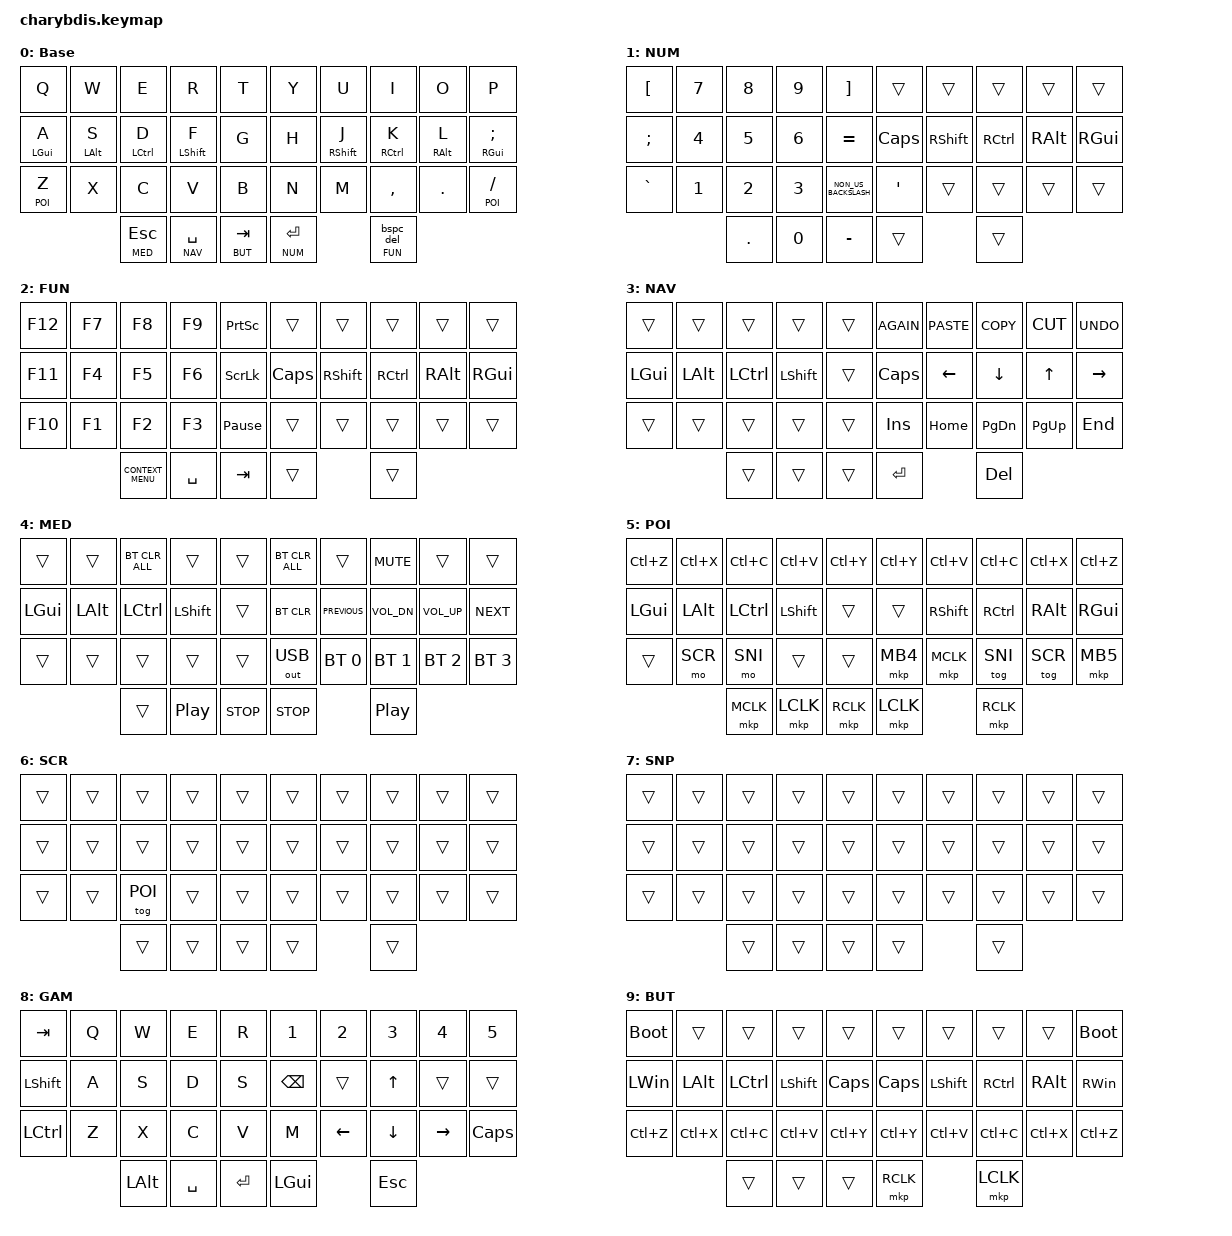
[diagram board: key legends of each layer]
#include <behaviors.dtsi>            /* brings in all core behavior types */
#include <dt-bindings/zmk/mouse.h>
#include <dt-bindings/zmk/keys.h>    /* key-to-phandle macros */
#include <dt-bindings/zmk/bt.h>
#include <dt-bindings/zmk/outputs.h>
#include <dt-bindings/zmk/modifiers.h>


#define BASE 0
#define NUM 1
#define FUN 2
#define NAV 3
#define MED 4
#define POI 5
#define SCR 6
#define SNI 7
#define GAM 8
#define BUT 9



&sl { release-after-ms = <250>; };

&mt {
    tapping-term-ms = <200>;
    require-prior-idle-ms = <150>;
};

/ {
    chosen { zmk,matrix_transform = &five_column_transform; };

    #include "combos.dtsi"

    behaviors {
        bspc_del: backspace_delete {
            compatible = "zmk,behavior-mod-morph";
            #binding-cells = <0>;
            bindings = <&kp BACKSPACE>, <&kp DELETE>;
            mods = <(MOD_LSFT|MOD_RSFT)>;
            keep-mods = <(MOD_RSFT)>;
        };
        lt_bspc: layer_tap_bspc_del {
            compatible = "zmk,behavior-hold-tap";
            label = "LAYER_TAP_BACKSPACE_DELETE";
            #binding-cells = <2>;
            bindings = <&mo>, <&bspc_del>;
            tapping-term-ms = <200>;
        };
        hml: homewrow_mods_left {
            compatible = "zmk,behavior-hold-tap";
            label = "HOMEROW_MODS_LEFT_HAND";
            bindings = <&kp>, <&kp>;

            #binding-cells = <2>;
            tapping-term-ms = <280>;
            hold-trigger-key-positions = <5 6 7 8 9 15 16 17 18 19 25 26 27 28 29 33 34>;
            flavor = "balanced";
            quick-tap-ms = <175>;
            require-prior-idle-ms = <125>;
            hold-trigger-on-release;
        };

        hmr: homewrow_mods_right {
            compatible = "zmk,behavior-hold-tap";
            label = "HOMEROW_MODS_RIGHT_HAND";
            bindings = <&kp>, <&kp>;

            #binding-cells = <2>;
            tapping-term-ms = <280>;
            hold-trigger-key-positions = <0 1 2 3 4 10 11 12 13 14 20 21 22 23 24 30 31 32>;
            flavor = "balanced";
            quick-tap-ms = <175>;
            require-prior-idle-ms = <125>;
            hold-trigger-on-release;
        };
    };

    keymap {
        compatible = "zmk,keymap";

        Base {
            label = "Base";
            bindings = <
  &kp Q        &kp W        &kp E         &kp R          &kp T         &kp Y  &kp U         &kp I         &kp O        &kp P
  &hml LGUI A  &hml LALT S  &hml LCTRL D  &hml LSHFT F   &kp G         &kp H  &hml RSHFT J  &hml RCTRL K  &hml RALT L  &hml RGUI SEMICOLON
  &lt POI Z    &kp X        &kp C         &kp V          &kp B         &kp N  &kp M         &kp COMMA     &kp DOT      &lt POI SLASH
                            &lt MED ESC   &lt NAV SPACE  &lt BUT TAB   &lt NUM ENTER  &lt_bspc FUN 0
            >;
        };

        Numerical {
            label = "NUM";
            bindings = <
  &kp LEFT_BRACKET  &kp N7        &kp N8        &kp N9        &kp RIGHT_BRACKET       &trans  &trans          &trans     &trans        &trans
  &kp SEMICOLON     &kp N4  &kp N5        &kp N6  &kp EQUAL               &kp CAPSLOCK  &kp RSHFT  &kp RCTRL  &kp RALT  &kp RGUI
  &kp GRAVE         &kp N1  &kp N2  &kp N3  &kp NON_US_BACKSLASH    &kp SQT    &trans          &trans     &trans        &trans
                                  &kp PERIOD    &kp N0        &kp MINUS               &trans  &trans
            >;
        };

        Function {
            label = "FUN";
            bindings = <
  &kp F12  &kp F7  &kp F8              &kp F9     &kp PRINTSCREEN    &trans  &trans  &trans  &trans  &trans
  &kp F11  &kp F4  &kp F5              &kp F6     &kp SCROLLLOCK     &kp CAPSLOCK  &kp RSHFT  &kp RCTRL  &kp RALT  &kp RGUI
  &kp F10  &kp F1  &kp F2              &kp F3     &kp PAUSE_BREAK    &trans  &trans  &trans  &trans  &trans
                   &kp K_CONTEXT_MENU  &kp SPACE  &kp TAB            &trans  &trans
            >;
        };

        Navigation {
            label = "NAV";
            bindings = <
  &trans        &trans        &trans            &trans          &trans    &kp K_AGAIN   &kp K_PASTE     &kp K_COPY     &kp K_CUT     &kp K_UNDO
  &kp LGUI  &kp LALT  &kp LCTRL  &kp LSHFT  &trans    &kp CAPSLOCK  &kp LEFT_ARROW  &kp DOWN       &kp UP_ARROW  &kp RIGHT
  &trans        &trans        &trans            &trans          &trans    &kp INS       &kp HOME        &kp PAGE_DOWN  &kp PAGE_UP   &kp END
                              &trans            &trans          &trans    &kp ENTER     &kp DELETE
            >;
        };

        Media {
            label = "MED";
            bindings = <
  &trans        &trans        &bt BT_CLR_ALL    &trans            &trans        &bt BT_CLR_ALL  &trans            &kp K_MUTE    &trans        &trans
  &kp LGUI  &kp LALT  &kp LCTRL  &kp LSHFT    &trans    &bt BT_CLR      &kp C_PREVIOUS    &kp C_VOL_DN  &kp C_VOL_UP  &kp C_NEXT
  &trans        &trans        &trans            &trans            &trans        &out OUT_USB    &bt BT_SEL 0      &bt BT_SEL 1  &bt BT_SEL 2  &bt BT_SEL 3
                              &trans            &kp C_PLAY_PAUSE  &kp C_STOP    &kp C_STOP      &kp C_PLAY_PAUSE
            >;
        };

        Pointer {
            label = "POI";
            bindings = <
  &kp LC(Z)     &kp LC(X)     &kp LC(C)   &kp LC(V)       &kp LC(Y)     &kp LC(Y)     &kp LC(V)     &kp LC(C)  &kp LC(X)   &kp LC(Z)   
  &kp LGUI  &kp LALT  &kp LCTRL  &kp LSHFT  &trans        &trans     &kp RSHFT  &kp RCTRL  &kp RALT  &kp RGUI
  &trans    &mo SCR   &mo SNI    &trans     &trans        &mkp MB4   &mkp MCLK   &tog SNI   &tog SCR  &mkp MB5
                      &mkp MCLK  &mkp LCLK  &mkp RCLK     &mkp LCLK  &mkp RCLK
            >;
        };

        Scroll {
            label = "SCR";
            bindings = <
  &trans  &trans  &trans  &trans  &trans    &trans  &trans  &trans  &trans  &trans
  &trans  &trans  &trans  &trans  &trans    &trans  &trans  &trans  &trans  &trans
  &trans  &trans  &tog POI &trans  &trans    &trans  &trans  &trans  &trans  &trans
                  &trans  &trans  &trans    &trans  &trans
            >;
        };

        Sniper {
            label = "SNP";
            bindings = <
  &trans  &trans  &trans  &trans  &trans    &trans  &trans  &trans  &trans  &trans
  &trans  &trans  &trans  &trans  &trans    &trans  &trans  &trans  &trans  &trans
  &trans  &trans  &trans  &trans  &trans    &trans  &trans  &trans  &trans  &trans
                  &trans  &trans  &trans    &trans  &trans
            >;
        };

        Gaming {
            label = "GAM";
            bindings = <
  &kp TAB         &kp Q  &kp W         &kp E      &kp R        &kp N1   &kp N2    &kp N3  &kp N4  &kp N5
  &kp LEFT_SHIFT  &kp A  &kp S         &kp D      &kp S        &kp BACKSPACE  &trans          &kp UP_ARROW  &trans        &trans
  &kp LCTRL       &kp Z  &kp X         &kp C      &kp V        &kp M          &kp LEFT_ARROW  &kp DOWN      &kp RIGHT     &kp CAPSLOCK
                         &kp LEFT_ALT  &kp SPACE  &kp ENTER    &kp LEFT_GUI   &kp ESCAPE
            >;
        };

        Button {
            label = "BUT";
            bindings = <
  &bootloader   &trans        &trans      &trans          &trans        &trans      &trans          &trans      &trans         &bootloader
  &kp LEFT_WIN  &kp LEFT_ALT  &kp LCTRL   &kp LEFT_SHIFT  &kp CAPS      &kp CAPS    &kp LEFT_SHIFT  &kp RCTRL   &kp RIGHT_ALT  &kp RIGHT_WIN
  &kp LC(Z)     &kp LC(X)     &kp LC(C)   &kp LC(V)       &kp LC(Y)     &kp LC(Y)     &kp LC(V)     &kp LC(C)  &kp LC(X)   &kp LC(Z)   
                              &trans      &trans          &trans     &mkp RCLK   &mkp LCLK
            >;
        };
    };
};
